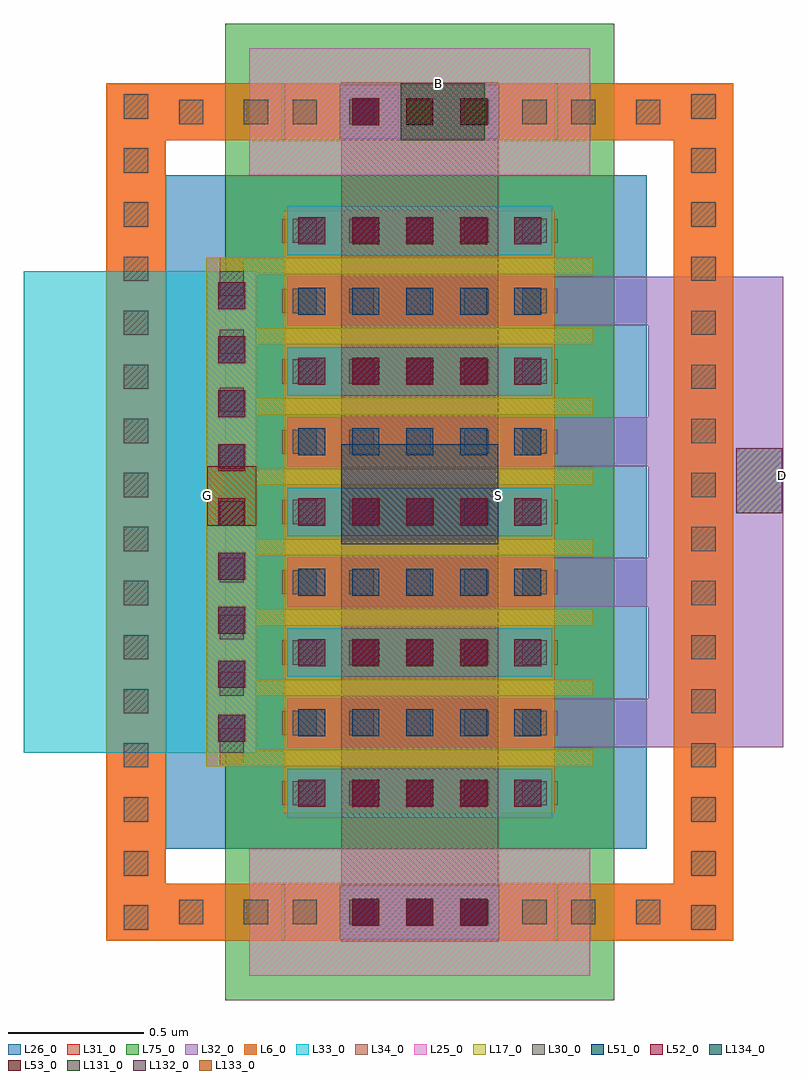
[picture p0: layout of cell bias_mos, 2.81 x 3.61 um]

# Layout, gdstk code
from math import pi, radians
import gdstk
lib = gdstk.Library(unit=1e-6, precision=1e-09)
def R(c, l, rs):  # rectangles x0, y0, x1, y1
    for r in rs: c.add(gdstk.rectangle(r[:2], r[2:], *l))
def A(c, l, x, y, w, h, nx, ny, dx, dy):  # array of equal rectangles
    R(c, l, [(x+i*dx, y+j*dy, x+i*dx+w, y+j*dy+h) for i in range(nx) for j in range(ny)])
L6_0 = (6, 0)
L17_0 = (17, 0)
L25_0 = (25, 0)
L26_0 = (26, 0)
L30_0 = (30, 0)
L31_0 = (31, 0)
L32_0 = (32, 0)
L33_0 = (33, 0)
L34_0 = (34, 0)
L51_0 = (51, 0)
L52_0 = (52, 0)
L53_0 = (53, 0)
L75_0 = (75, 0)
L131_0 = (131, 0)
L132_0 = (132, 0)
L133_0 = (133, 0)
L134_0 = (134, 0)

nch_cdns_758578623070 = lib.new_cell('nch_CDNS_758578623070')
R(nch_cdns_758578623070, L6_0, [(-0.645,0,-0.435,1), (-0.175,0,0,1), (0,0,0.06,1), (0.06,0,1.88,1), (1.88,0,2.055,1), (2.315,0,2.525,1)])
A(nch_cdns_758578623070, L17_0, 0, -0.14, 0.06, 0.14, 8, 1, 0.26, 0)
A(nch_cdns_758578623070, L17_0, 0, 0, 0.06, 1, 8, 1, 0.26, 0)
A(nch_cdns_758578623070, L17_0, 0, 1, 0.06, 0.1, 8, 1, 0.26, 0)
R(nch_cdns_758578623070, L17_0, [(0,1.1,1.88,1.29)])
R(nch_cdns_758578623070, L25_0, [(-0.775,-0.13,-0.305,1.13), (2.185,-0.13,2.655,1.13)])
R(nch_cdns_758578623070, L26_0, [(-0.305,-0.34,2.185,1.34), (-0.305,0.95,2.185,1.44)])
A(nch_cdns_758578623070, L30_0, -0.585, 0.03, 0.09, 0.09, 1, 3, 0, 0.215)
A(nch_cdns_758578623070, L30_0, -0.145, 0.03, 0.09, 0.09, 9, 3, 0.26, 0.215)
A(nch_cdns_758578623070, L30_0, 2.375, 0.03, 0.09, 0.09, 1, 3, 0, 0.215)
A(nch_cdns_758578623070, L30_0, -0.145, 0.67, 0.09, 0.09, 9, 2, 0.26, 0.21)
A(nch_cdns_758578623070, L30_0, 0.05, 1.15, 0.09, 0.09, 3, 1, 0.215, 0)
A(nch_cdns_758578623070, L30_0, 0.69, 1.15, 0.09, 0.09, 6, 1, 0.21, 0)
R(nch_cdns_758578623070, L30_0, [(-0.585,0.67,-0.495,0.76), (2.375,0.67,2.465,0.76), (-0.585,0.88,-0.495,0.97), (2.375,0.88,2.465,0.97)])
A(nch_cdns_758578623070, L31_0, -0.145, -0.01, 0.09, 1.02, 9, 1, 0.26, 0)
R(nch_cdns_758578623070, L75_0, [(-0.865,-0.22,2.745,1.22)])
nch_cdns_758578623070.add(gdstk.FlexPath([(0,1.195),(1.88,1.195)], 0.09, ends="flush", simple_path=True, layer=31, datatype=0))  # L31_0
nch_cdns_758578623070.add(gdstk.FlexPath([(2.42,-0.01),(2.42,1.01)], 0.21, ends="flush", simple_path=True, layer=31, datatype=0))  # L31_0
nch_cdns_758578623070.add(gdstk.FlexPath([(-0.54,-0.01),(-0.54,1.01)], 0.21, ends="flush", simple_path=True, layer=31, datatype=0))  # L31_0
nch_cdns_758578623070.add(gdstk.Label('& SerialNumber 000000', (0,0), layer=63, texttype=63))
nch_cdns_758578623070.add(gdstk.Label('& Distributor TSMC', (0,0), layer=63, texttype=63))
nch_cdns_758578623070.add(gdstk.Label('& Metric 1', (0,0), layer=63, texttype=63))
nch_cdns_758578623070.add(gdstk.Label('& PDK TechNode "CRN65LP"', (0,0), layer=63, texttype=63))
nch_cdns_758578623070.add(gdstk.Label('& Product    tsmcN65_PDK', (0,0), layer=63, texttype=63))
nch_cdns_758578623070.add(gdstk.Label('& Vendor     Taiwan Semiconductor manufacturing Corp.', (0,0), layer=63, texttype=63))
nch_cdns_758578623070.add(gdstk.Label('[@instanceName]', (0.03,0.5), layer=127, texttype=0))
nch_cdns_758578623070.add(gdstk.Label('nch\n8.0/0.06\n', (0,0), layer=127, texttype=0))
nch_cdns_758578623070.add(gdstk.Label('B', (2.42,0.5), layer=127, texttype=0))
nch_cdns_758578623070.add(gdstk.Label('B', (-0.54,0.5), layer=127, texttype=0))
nch_cdns_758578623070.add(gdstk.Label('D', (0.16,0.5), layer=127, texttype=0))
nch_cdns_758578623070.add(gdstk.Label('S', (0.42,0.5), layer=127, texttype=0))
nch_cdns_758578623070.add(gdstk.Label('D', (0.68,0.5), layer=127, texttype=0))
nch_cdns_758578623070.add(gdstk.Label('S', (0.94,0.5), layer=127, texttype=0))
nch_cdns_758578623070.add(gdstk.Label('D', (1.2,0.5), layer=127, texttype=0))
nch_cdns_758578623070.add(gdstk.Label('S', (1.46,0.5), layer=127, texttype=0))
nch_cdns_758578623070.add(gdstk.Label('D', (1.72,0.5), layer=127, texttype=0))
nch_cdns_758578623070.add(gdstk.Label('S', (1.98,0.5), layer=127, texttype=0))
nch_cdns_758578623070.add(gdstk.Label('S', (-0.1,0.5), layer=127, texttype=0))

m3_m2_cdns_758578623070 = lib.new_cell('M3_M2_CDNS_758578623070')
R(m3_m2_cdns_758578623070, L32_0, [(-0.09,-0.49,0.09,0.49)])
R(m3_m2_cdns_758578623070, L33_0, [(-0.09,-0.49,0.09,0.49)])
A(m3_m2_cdns_758578623070, L52_0, -0.05, -0.45, 0.1, 0.1, 1, 5, 0, 0.2)

m3_m2_cdns_758578623071 = lib.new_cell('M3_M2_CDNS_758578623071')
R(m3_m2_cdns_758578623071, L32_0, [(-0.89,-0.09,0.89,0.09)])
R(m3_m2_cdns_758578623071, L33_0, [(-0.89,-0.09,0.89,0.09)])
A(m3_m2_cdns_758578623071, L52_0, -0.85, -0.05, 0.1, 0.1, 9, 1, 0.2, 0)

m3_m2_cdns_758578623072 = lib.new_cell('M3_M2_CDNS_758578623072')
R(m3_m2_cdns_758578623072, L32_0, [(-0.295,-0.1,0.295,0.1)])
R(m3_m2_cdns_758578623072, L33_0, [(-0.295,-0.1,0.295,0.1)])
A(m3_m2_cdns_758578623072, L52_0, -0.25, -0.05, 0.1, 0.1, 3, 1, 0.2, 0)

m4_m3_cdns_758578623073 = lib.new_cell('M4_M3_CDNS_758578623073')
R(m4_m3_cdns_758578623073, L33_0, [(-0.09,-0.29,0.09,0.29)])
R(m4_m3_cdns_758578623073, L34_0, [(-0.09,-0.29,0.09,0.29)])
A(m4_m3_cdns_758578623073, L53_0, -0.05, -0.25, 0.1, 0.1, 1, 3, 0, 0.2)

m4_m3_cdns_758578623074 = lib.new_cell('M4_M3_CDNS_758578623074')
R(m4_m3_cdns_758578623074, L33_0, [(-0.295,-0.1,0.295,0.1)])
R(m4_m3_cdns_758578623074, L34_0, [(-0.295,-0.1,0.295,0.1)])
A(m4_m3_cdns_758578623074, L53_0, -0.25, -0.05, 0.1, 0.1, 3, 1, 0.2, 0)

m2_m1_cdns_758578623075 = lib.new_cell('M2_M1_CDNS_758578623075')
R(m2_m1_cdns_758578623075, L31_0, [(-0.09,-0.49,0.09,0.49)])
R(m2_m1_cdns_758578623075, L32_0, [(-0.09,-0.49,0.09,0.49)])
A(m2_m1_cdns_758578623075, L51_0, -0.05, -0.45, 0.1, 0.1, 1, 5, 0, 0.2)

m2_m1_cdns_758578623076 = lib.new_cell('M2_M1_CDNS_758578623076')
R(m2_m1_cdns_758578623076, L31_0, [(-0.89,-0.09,0.89,0.09)])
R(m2_m1_cdns_758578623076, L32_0, [(-0.89,-0.09,0.89,0.09)])
A(m2_m1_cdns_758578623076, L51_0, -0.85, -0.05, 0.1, 0.1, 9, 1, 0.2, 0)

m2_m1_cdns_758578623077 = lib.new_cell('M2_M1_CDNS_758578623077')
R(m2_m1_cdns_758578623077, L31_0, [(-0.295,-0.1,0.295,0.1)])
R(m2_m1_cdns_758578623077, L32_0, [(-0.295,-0.1,0.295,0.1)])
A(m2_m1_cdns_758578623077, L51_0, -0.25, -0.05, 0.1, 0.1, 3, 1, 0.2, 0)

m1_od_cdns_758578623078 = lib.new_cell('M1_OD_CDNS_758578623078')
R(m1_od_cdns_758578623078, L6_0, [(-0.215,-0.105,0.215,0.105)])
R(m1_od_cdns_758578623078, L30_0, [(-0.165,-0.045,-0.075,0.045), (0.075,-0.045,0.165,0.045)])
R(m1_od_cdns_758578623078, L31_0, [(-0.215,-0.105,0.215,0.105)])

m1_od_cdns_758578623079 = lib.new_cell('M1_OD_CDNS_758578623079')
R(m1_od_cdns_758578623079, L6_0, [(-0.11,-1.585,0.11,1.585)])
A(m1_od_cdns_758578623079, L30_0, -0.045, -1.545, 0.09, 0.09, 1, 16, 0, 0.2)
R(m1_od_cdns_758578623079, L31_0, [(-0.11,-1.585,0.11,1.585)])

bias_mos = lib.new_cell('bias_mos')
A(bias_mos, L32_0, 1.95, 0.935, 0.78, 0.18, 1, 4, 0, 0.52)
R(bias_mos, L32_0, [(2.31,0.935,2.81,2.675)])
R(bias_mos, L33_0, [(0,0.915,0.72,2.695)])
R(bias_mos, L34_0, [(1.175,0.215,1.755,3.395)])
R(bias_mos, L131_0, [(1.395,3.18,1.705,3.39)])
R(bias_mos, L132_0, [(2.635,1.8,2.805,2.04)])
R(bias_mos, L133_0, [(0.68,1.755,0.86,1.975)])
R(bias_mos, L134_0, [(1.175,1.685,1.755,2.055)])
bias_mos.add(gdstk.Reference(nch_cdns_758578623070, (1.965,2.745), rotation=3*pi/2, x_reflection=True))
bias_mos.add(gdstk.Reference(m3_m2_cdns_758578623070, (1.465,2.845), rotation=3*pi/2, x_reflection=True))
bias_mos.add(gdstk.Reference(m3_m2_cdns_758578623070, (1.465,2.325), rotation=3*pi/2, x_reflection=True))
bias_mos.add(gdstk.Reference(m3_m2_cdns_758578623070, (1.465,1.805), rotation=3*pi/2, x_reflection=True))
bias_mos.add(gdstk.Reference(m3_m2_cdns_758578623070, (1.465,1.285), rotation=3*pi/2, x_reflection=True))
bias_mos.add(gdstk.Reference(m3_m2_cdns_758578623070, (1.465,0.765), rotation=3*pi/2, x_reflection=True))
bias_mos.add(gdstk.Reference(m3_m2_cdns_758578623071, (0.77,1.805), rotation=3*pi/2, x_reflection=True))
bias_mos.add(gdstk.Reference(m3_m2_cdns_758578623072, (1.465,0.325), rotation=pi, x_reflection=True))
bias_mos.add(gdstk.Reference(m3_m2_cdns_758578623072, (1.465,3.285), rotation=pi, x_reflection=True))
bias_mos.add(gdstk.Reference(m4_m3_cdns_758578623073, (1.465,2.845), rotation=3*pi/2, x_reflection=True))
bias_mos.add(gdstk.Reference(m4_m3_cdns_758578623073, (1.465,2.325), rotation=3*pi/2, x_reflection=True))
bias_mos.add(gdstk.Reference(m4_m3_cdns_758578623073, (1.465,1.805), rotation=3*pi/2, x_reflection=True))
bias_mos.add(gdstk.Reference(m4_m3_cdns_758578623073, (1.465,1.285), rotation=3*pi/2, x_reflection=True))
bias_mos.add(gdstk.Reference(m4_m3_cdns_758578623073, (1.465,0.765), rotation=3*pi/2, x_reflection=True))
bias_mos.add(gdstk.Reference(m4_m3_cdns_758578623074, (1.465,0.325), rotation=pi, x_reflection=True))
bias_mos.add(gdstk.Reference(m4_m3_cdns_758578623074, (1.465,3.285), rotation=pi, x_reflection=True))
bias_mos.add(gdstk.Reference(m2_m1_cdns_758578623075, (1.465,0.765), rotation=3*pi/2, x_reflection=True))
bias_mos.add(gdstk.Reference(m2_m1_cdns_758578623075, (1.465,2.585), rotation=3*pi/2, x_reflection=True))
bias_mos.add(gdstk.Reference(m2_m1_cdns_758578623075, (1.465,2.325), rotation=3*pi/2, x_reflection=True))
bias_mos.add(gdstk.Reference(m2_m1_cdns_758578623075, (1.465,2.065), rotation=3*pi/2, x_reflection=True))
bias_mos.add(gdstk.Reference(m2_m1_cdns_758578623075, (1.465,1.805), rotation=3*pi/2, x_reflection=True))
bias_mos.add(gdstk.Reference(m2_m1_cdns_758578623075, (1.465,1.545), rotation=3*pi/2, x_reflection=True))
bias_mos.add(gdstk.Reference(m2_m1_cdns_758578623075, (1.465,1.285), rotation=3*pi/2, x_reflection=True))
bias_mos.add(gdstk.Reference(m2_m1_cdns_758578623075, (1.465,1.025), rotation=3*pi/2, x_reflection=True))
bias_mos.add(gdstk.Reference(m2_m1_cdns_758578623075, (1.465,2.845), rotation=3*pi/2, x_reflection=True))
bias_mos.add(gdstk.Reference(m2_m1_cdns_758578623076, (0.77,1.805), rotation=3*pi/2, x_reflection=True))
bias_mos.add(gdstk.Reference(m2_m1_cdns_758578623077, (1.465,0.325), rotation=pi, x_reflection=True))
bias_mos.add(gdstk.Reference(m2_m1_cdns_758578623077, (1.465,3.285), rotation=pi, x_reflection=True))
bias_mos.add(gdstk.Reference(m1_od_cdns_758578623078, (2.19,0.325)))
bias_mos.add(gdstk.Reference(m1_od_cdns_758578623078, (2.19,3.285)))
bias_mos.add(gdstk.Reference(m1_od_cdns_758578623078, (0.74,3.285)))
bias_mos.add(gdstk.Reference(m1_od_cdns_758578623078, (0.74,0.325)))
bias_mos.add(gdstk.Reference(m1_od_cdns_758578623079, (2.515,1.805)))
bias_mos.add(gdstk.Reference(m1_od_cdns_758578623079, (0.415,1.805)))
bias_mos.add(gdstk.Label('G', (0.68,1.865), layer=133, texttype=0))
bias_mos.add(gdstk.Label('S', (1.755,1.865), layer=134, texttype=0))
bias_mos.add(gdstk.Label('D', (2.805,1.94), layer=132, texttype=0))
bias_mos.add(gdstk.Label('B', (1.535,3.39), layer=131, texttype=0))

lib.write_gds('bias_mos.gds')
